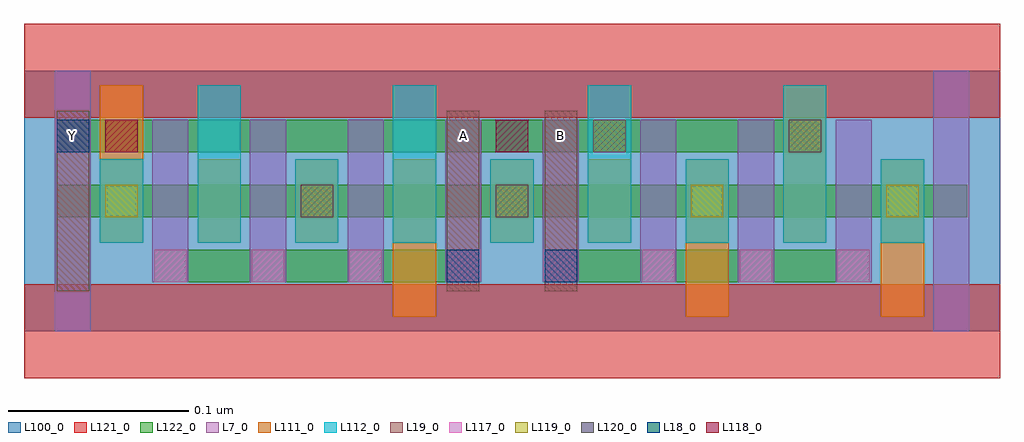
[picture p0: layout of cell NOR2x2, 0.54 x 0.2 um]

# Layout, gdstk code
import gdstk
lib = gdstk.Library(unit=1e-6, precision=2.5e-10)
def R(c, l, rs):  # rectangles x0, y0, x1, y1
    for r in rs: c.add(gdstk.rectangle(r[:2], r[2:], *l))
def A(c, l, x, y, w, h, nx, ny, dx, dy):  # array of equal rectangles
    R(c, l, [(x+i*dx, y+j*dy, x+i*dx+w, y+j*dy+h) for i in range(nx) for j in range(ny)])
L7_0 = (7, 0)
L18_0 = (18, 0)
L19_0 = (19, 0)
L100_0 = (100, 0)
L111_0 = (111, 0)
L112_0 = (112, 0)
L117_0 = (117, 0)
L118_0 = (118, 0)
L119_0 = (119, 0)
L120_0 = (120, 0)
L121_0 = (121, 0)
L122_0 = (122, 0)

nor2x2 = lib.new_cell('NOR2x2')
A(nor2x2, L7_0, 0.071, 0.027, 0.02, 0.09, 8, 1, 0.054, 0)
R(nor2x2, L7_0, [(0.017,0,0.037,0.144), (0.503,0,0.523,0.144)])
R(nor2x2, L18_0, [(0.234,0.027,0.252,0.045), (0.288,0.027,0.306,0.045), (0.018,0.099,0.036,0.117)])
R(nor2x2, L19_0, [(0.018,0.022,0.036,0.122), (0.234,0.022,0.252,0.122), (0.288,0.022,0.306,0.122)])
R(nor2x2, L100_0, [(0,0,0.54,0.144)])
R(nor2x2, L111_0, [(0.204,0.008,0.228,0.095), (0.366,0.008,0.39,0.095), (0.474,0.008,0.498,0.095), (0.042,0.049,0.066,0.136), (0.096,0.049,0.12,0.095), (0.15,0.049,0.174,0.095), (0.258,0.049,0.282,0.095), (0.312,0.049,0.336,0.095), (0.42,0.049,0.444,0.136)])
A(nor2x2, L112_0, 0.042, 0.049, 0.024, 0.046, 5, 1, 0.108, 0)
A(nor2x2, L112_0, 0.096, 0.049, 0.024, 0.087, 4, 1, 0.108, 0)
A(nor2x2, L117_0, 0.072, 0.027, 0.018, 0.018, 8, 1, 0.054, 0)
R(nor2x2, L118_0, [(0.045,0.099,0.063,0.117), (0.261,0.099,0.279,0.117)])
A(nor2x2, L119_0, 0.045, 0.063, 0.018, 0.018, 5, 1, 0.108, 0)
R(nor2x2, L119_0, [(0.315,0.099,0.333,0.117), (0.423,0.099,0.441,0.117)])
R(nor2x2, L120_0, [(0.153,0.063,0.171,0.081), (0.261,0.063,0.279,0.081), (0.315,0.099,0.333,0.117), (0.423,0.099,0.441,0.117)])
R(nor2x2, L121_0, [(0,-0.026,0.54,0.026), (0,0.118,0.54,0.17)])
R(nor2x2, L122_0, [(0.072,0.027,0.252,0.045), (0.288,0.027,0.468,0.045), (0.018,0.063,0.522,0.081), (0.018,0.099,0.441,0.117)])
nor2x2.add(gdstk.Label('Y', (0.027,0.108), layer=19, texttype=251))
nor2x2.add(gdstk.Label('B', (0.297,0.108), layer=19, texttype=251))
nor2x2.add(gdstk.Label('A', (0.243,0.108), layer=19, texttype=251))

lib.write_gds('NOR2x2.gds')
